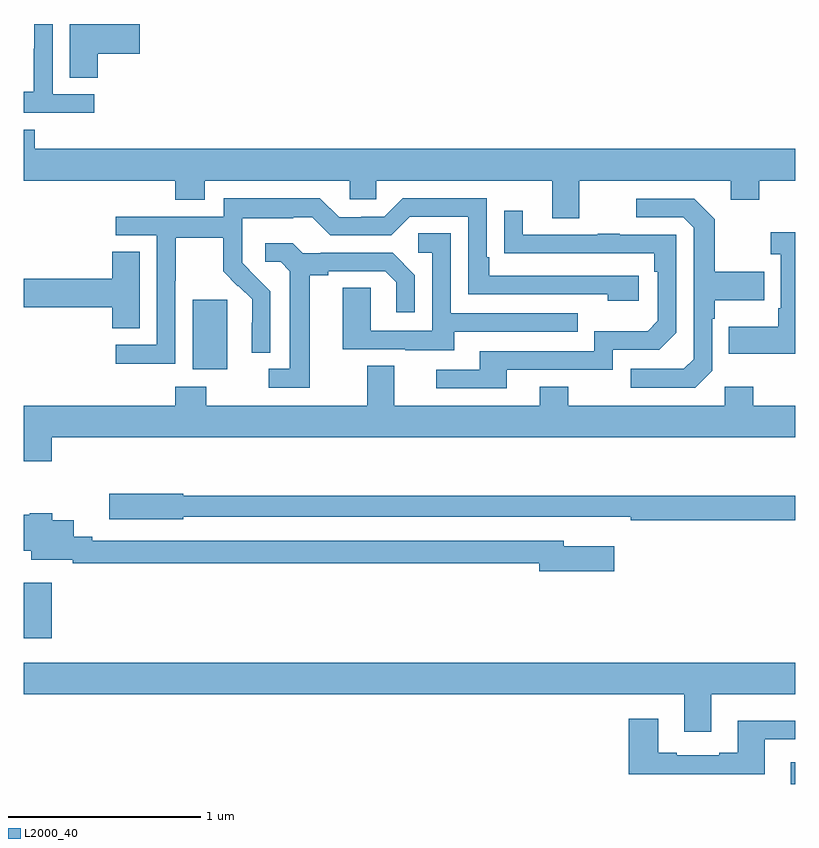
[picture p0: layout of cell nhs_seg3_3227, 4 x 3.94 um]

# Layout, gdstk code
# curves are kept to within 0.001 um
import gdstk
lib = gdstk.Library(unit=1e-6, precision=1e-09)
def R(c, l, rs):  # rectangles x0, y0, x1, y1
    for r in rs: c.add(gdstk.rectangle(r[:2], r[2:], *l))
def P(c, l, *ps):  # polygons
    for p in ps: c.add(gdstk.Polygon(p, *l))
L2000_40 = (2000, 40)

nhs_seg3_3227 = lib.new_cell('nhs_seg3_3227')
R(nhs_seg3_3227, L2000_40, [(282.977,692.459,283,692.572), (279,693.216,279.146,693.502), (279.875,694.61,280.054,694.971)])
P(nhs_seg3_3227, L2000_40, [(279.383,696.245),(279.601,696.245),(279.601,696.4),(279.239,696.4),(279.239,696.121),(279.383,696.121)],
  [(279.364,696.036),(279.15,696.036),(279.15,696.4),(279.054,696.4),(279.054,696.272),(279.052,696.272),(279.052,696.049),(279,696.049),(279,695.94),(279.364,695.94)],
  [(281.881,695.588),(282.665,695.588),(282.665,695.489),(282.813,695.489),(282.813,695.588),(283,695.588),(283,695.752),(279.056,695.752),(279.056,695.851),(279,695.851),(279,695.588),(279.785,695.588),(279.785,695.489),(279.937,695.489),(279.937,695.588),(280.689,695.588),(280.689,695.49),(280.827,695.49),(280.827,695.588),(281.741,695.588),(281.741,695.394),(281.881,695.394)],
  [(279.786,695.068),(279.789,695.068),(279.789,695.292),(280.033,695.292),(280.033,695.117),(280.11,695.04),(280.113,695.043),(280.184,694.973),(280.184,694.85),(280.182,694.85),(280.182,694.696),(280.278,694.696),(280.278,695.014),(280.132,695.162),(280.132,695.259),(280.134,695.259),(280.134,695.393),(280.397,695.393),(280.397,695.397),(280.497,695.397),(280.59,695.304),(280.905,695.304),(281.001,695.4),(281.304,695.4),(281.304,694.998),(282.029,694.998),(282.029,694.964),(282.19,694.964),(282.19,695.094),(281.413,695.094),(281.413,695.191),(281.4,695.191),(281.4,695.496),(280.965,695.496),(280.869,695.4),(280.751,695.4),(280.751,695.397),(280.635,695.397),(280.535,695.497),(280.038,695.497),(280.038,695.4),(279.477,695.4),(279.477,695.304),(279.69,695.304),(279.69,694.737),(279.477,694.737),(279.477,694.639),(279.786,694.639)],
  [(282.57,694.602),(282.57,694.871),(282.583,694.871),(282.583,694.967),(282.839,694.967),(282.839,695.115),(282.583,695.115),(282.583,695.387),(282.477,695.493),(282.177,695.493),(282.177,695.397),(282.42,695.397),(282.474,695.343),(282.474,694.662),(282.423,694.611),(282.147,694.611),(282.147,694.515),(282.483,694.515)],
  [(281.503,694.608),(282.054,694.608),(282.054,694.71),(282.294,694.71),(282.384,694.8),(282.384,695.307),(282.089,695.307),(282.089,695.312),(281.977,695.312),(281.977,695.307),(281.587,695.307),(281.587,695.431),(281.491,695.431),(281.491,695.212),(282.268,695.211),(282.268,695.114),(282.288,695.114),(282.288,694.86),(282.235,694.807),(281.958,694.807),(281.958,694.704),(281.363,694.704),(281.363,694.608),(281.139,694.608),(281.139,694.512),(281.503,694.512)],
  [(283,695.32),(282.873,695.32),(282.873,695.207),(282.924,695.207),(282.924,694.927),(282.912,694.927),(282.912,694.831),(282.655,694.831),(282.655,694.691),(283,694.691)],
  [(281.233,694.803),(281.873,694.803),(281.873,694.899),(281.214,694.899),(281.214,695.315),(281.046,695.315),(281.046,695.214),(281.118,695.214),(281.118,694.809),(280.8,694.809),(280.8,695.033),(280.655,695.033),(280.655,694.713),(280.979,694.713),(280.979,694.709),(281.233,694.709)],
  [(280.483,695.096),(280.579,695.096),(280.579,695.118),(280.874,695.118),(280.931,695.061),(280.931,694.905),(281.028,694.905),(281.028,695.098),(280.912,695.214),(280.54,695.214),(280.54,695.211),(280.446,695.211),(280.394,695.263),(280.251,695.263),(280.251,695.166),(280.332,695.166),(280.379,695.119),(280.379,694.611),(280.269,694.611),(280.269,694.515),(280.483,694.515)],
  [(279.601,695.219),(279.458,695.219),(279.458,695.078),(279,695.078),(279,694.931),(279.458,694.931),(279.458,694.822),(279.601,694.822)],
  [(279.146,694.256),(283,694.256),(283,694.42),(282.783,694.42),(282.783,694.519),(282.636,694.519),(282.636,694.42),(281.823,694.42),(281.823,694.519),(281.675,694.519),(281.675,694.42),(280.921,694.42),(280.921,694.628),(280.781,694.628),(280.781,694.42),(279.945,694.42),(279.945,694.519),(279.785,694.519),(279.785,694.42),(279,694.42),(279,694.132),(279.146,694.132)],
  [(283,693.955),(279.828,693.955),(279.828,693.963),(279.444,693.963),(279.444,693.833),(279.828,693.833),(279.828,693.846),(281.896,693.846),(281.896,693.845),(282.148,693.845),(282.148,693.826),(283,693.826)],
  [(282.061,693.691),(281.8,693.691),(281.8,693.72),(279.355,693.72),(279.355,693.74),(279.259,693.74),(279.259,693.826),(279.148,693.826),(279.148,693.862),(279.03,693.862),(279.03,693.856),(279,693.856),(279,693.668),(279.038,693.668),(279.038,693.623),(279.255,693.623),(279.255,693.604),(281.672,693.604),(281.672,693.562),(282.061,693.562)],
  [(282.565,692.924),(283,692.924),(283,693.088),(279,693.088),(279,692.924),(282.425,692.924),(282.425,692.73),(282.565,692.73)],
  [(282.841,692.691),(283,692.691),(283,692.788),(282.701,692.788),(282.701,692.62),(282.605,692.62),(282.605,692.607),(282.385,692.607),(282.385,692.62),(282.289,692.62),(282.289,692.797),(282.137,692.797),(282.137,692.51),(282.841,692.51)])

lib.write_gds('nhs_seg3_3227.gds')
